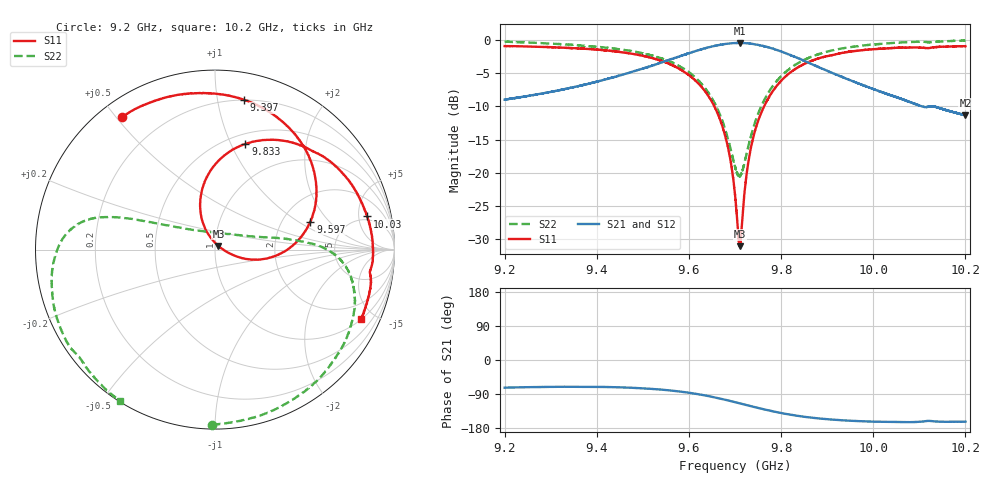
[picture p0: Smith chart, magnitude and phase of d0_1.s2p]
!Agilent Technologies,N5242A,MY51221714,A.09.90.19
!Agilent N5242A: A.09.90.19
!Date: Saturday, March 16, 2024 09:00:55
!Correction: S11(Full 2 Port(1,2))
!S21(Full 2 Port(1,2))
!S12(Full 2 Port(1,2))
!S22(Full 2 Port(1,2))
!S2P File: Measurements: S11, S21, S12, S22:
# Hz S  dB  R 50
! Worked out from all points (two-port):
!   16001 points, 9.2 GHz to 10.2 GHz, reference 50 ohm
!   highest |S21| = -0.41 dB at 9.711 GHz (marker M1); lowest = -11.3 dB at 10.2 GHz (marker M2)
!   |S21| within 3 dB of the highest: 9.538388 GHz to 9.538647 GHz (259.7 kHz wide, 0.00272 % of centre); 9.539 GHz to 9.86 GHz (321.3 MHz wide, 3.31 % of centre)
!   lowest |S11| = -31.1 dB at 9.71 GHz (marker M3), VSWR 1.06, Z = 51.9 + j2.11 ohm
!   |S11| at or under -10 dB: 9.655 GHz to 9.763 GHz (107.9 MHz wide, 1.11 % of centre)
!   |S22| runs from -20.6 to 0.0 dB; largest |S21 - S12| = 0.011
!   S11 on the Smith chart (normalised r, x): 9.2 GHz: 0.07, +0.52; 9.397 GHz: 0.20, +1.19; 9.597 GHz: 2.84, +1.28; 9.833 GHz: 0.60, +1.14; 10.03 GHz: 4.30, +6.48; 10.2 GHz: 1.01, -4.17
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9.2e9  -0.90 125.3  -8.98 -73.0  -8.97 -73.5  -0.22 -91.0
9.277562e9  -1.00 107.9  -8.09 -71.3  -8.08 -71.7  -0.43 -69.5
9.366688e9  -1.28 86.8  -6.84 -70.7  -6.81 -71.1  -0.81 -45.7
9.397375e9  -1.41 79.1  -6.32 -70.8  -6.30 -71.4  -0.98 -37.7
9.465188e9  -1.92 60.7  -5.02 -72.8  -5.02 -73.3  -1.53 -21.8
9.533375e9  -2.97 39.7  -3.54 -77.4  -3.53 -77.9  -2.59 -8.0
9.597188e9  -5.13 16.3  -2.03 -85.9  -2.03 -86.4  -4.68 1.9
9.666188e9  -11.70 -12.0  -0.71 -101.3  -0.71 -101.8  -11.07 14.3
9.686625e9  -16.84 -17.6  -0.51 -107.2  -0.49 -107.7  -15.42 27.8
9.7e9  -23.25 -11.3  -0.43 -111.2  -0.42 -111.7  -19.15 51.9
9.71e9  -31.10 46.7  -0.43 -114.2  -0.41 -114.8  -20.57 85.9
9.710562e9  -30.93 52.0  -0.41 -114.5  -0.41 -114.9  -20.46 88.6
9.729125e9  -18.32 115.1  -0.49 -120.1  -0.48 -120.7  -16.00 137.0
9.749e9  -12.43 110.2  -0.68 -126.1  -0.69 -126.7  -11.31 151.5
9.784438e9  -7.45 94.8  -1.33 -136.0  -1.32 -136.6  -6.70 159.1
9.833e9  -4.24 73.9  -2.60 -146.7  -2.61 -147.2  -3.62 164.2
9.866688e9  -3.11 60.9  -3.62 -152.3  -3.60 -152.8  -2.48 168.0
9.950438e9  -1.72 33.6  -6.06 -160.3  -6.06 -160.8  -1.05 -178.7
1.002931e10  -1.22 12.3  -8.11 -163.5  -8.10 -163.9  -0.49 -162.7
1.003338e10  -1.22 11.3  -8.21 -163.4  -8.20 -164.0  -0.46 -161.7
1.010425e10  -1.13 -5.8  -9.96 -162.8  -9.97 -163.2  -0.24 -146.0
1.02e10  -0.91 -25.6  -11.33 -162.8  -11.32 -163.3  -0.05 -122.1
